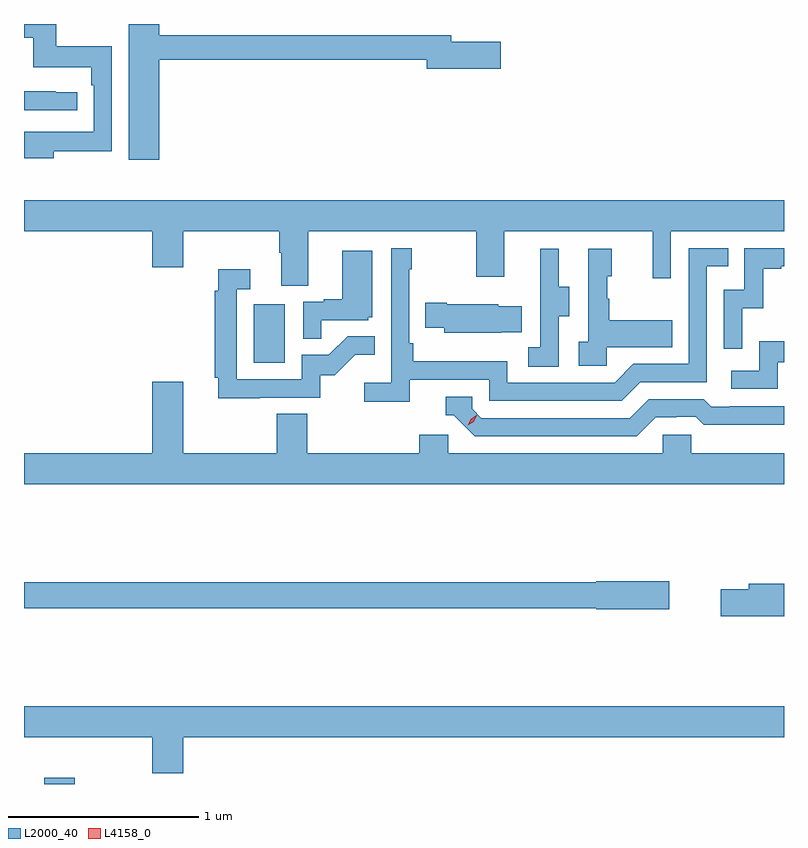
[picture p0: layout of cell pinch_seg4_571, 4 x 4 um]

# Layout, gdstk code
import gdstk
lib = gdstk.Library(unit=1e-6, precision=1e-09)
def R(c, l, rs):  # rectangles x0, y0, x1, y1
    for r in rs: c.add(gdstk.rectangle(r[:2], r[2:], *l))
def P(c, l, *ps):  # polygons
    for p in ps: c.add(gdstk.Polygon(p, *l))
L2000_40 = (2000, 40)
L4158_0 = (4158, 0)

pinch_seg4_571 = lib.new_cell('pinch_seg4_571')
R(pinch_seg4_571, L2000_40, [(1027.577,771.267,1027.738,771.301), (1028.678,773.484,1028.842,773.791)])
P(pinch_seg4_571, L2000_40, [(1027.627,774.598),(1027.932,774.598),(1027.932,775.15),(1027.639,775.15),(1027.639,775.267),(1027.47,775.267),(1027.47,775.195),(1027.518,775.195),(1027.518,775.04),(1027.823,775.04),(1027.823,774.944),(1027.836,774.944),(1027.836,774.699),(1027.523,774.699),(1027.523,774.7),(1027.47,774.7),(1027.47,774.56),(1027.627,774.56)],
  [(1028.182,775.078),(1029.59,775.078),(1029.59,775.031),(1029.978,775.031),(1029.978,775.173),(1029.718,775.173),(1029.718,775.207),(1028.182,775.207),(1028.182,775.267),(1028.021,775.267),(1028.021,774.552),(1028.182,774.552)],
  [(1027.75,774.909),(1027.637,774.909),(1027.637,774.914),(1027.47,774.914),(1027.47,774.813),(1027.75,774.813)],
  [(1028.965,774.176),(1029.85,774.176),(1029.85,773.937),(1029.997,773.937),(1029.997,774.176),(1030.778,774.176),(1030.778,773.928),(1030.875,773.928),(1030.875,774.176),(1031.47,774.176),(1031.47,774.34),(1027.47,774.34),(1027.47,774.176),(1028.144,774.176),(1028.144,773.988),(1028.308,773.988),(1028.308,774.176),(1028.813,774.176),(1028.813,774.064),(1028.825,774.064),(1028.825,773.89),(1028.965,773.89)],
  [(1029.5,773.394),(1029.918,773.394),(1029.918,773.283),(1030.615,773.283),(1030.714,773.382),(1031.064,773.382),(1031.064,773.991),(1031.177,773.991),(1031.177,774.087),(1030.968,774.087),(1030.968,773.478),(1030.677,773.478),(1030.578,773.379),(1030.014,773.379),(1030.014,773.491),(1029.518,773.491),(1029.518,773.587),(1029.498,773.587),(1029.498,773.975),(1029.511,773.975),(1029.511,774.088),(1029.402,774.088),(1029.402,773.38),(1029.261,773.38),(1029.261,773.278),(1029.5,773.278)],
  [(1031.25,773.771),(1031.36,773.771),(1031.36,773.979),(1031.455,773.979),(1031.455,773.991),(1031.47,773.991),(1031.47,774.087),(1031.262,774.087),(1031.262,773.868),(1031.154,773.868),(1031.154,773.559),(1031.25,773.559)],
  [(1030.536,773.567),(1030.883,773.567),(1030.883,773.707),(1030.549,773.707),(1030.549,773.822),(1030.539,773.822),(1030.539,773.94),(1030.564,773.94),(1030.564,774.085),(1030.44,774.085),(1030.44,773.594),(1030.389,773.594),(1030.389,773.469),(1030.536,773.469)],
  [(1030.284,773.728),(1030.339,773.728),(1030.339,773.883),(1030.285,773.883),(1030.285,774.085),(1030.187,774.085),(1030.187,773.871),(1030.188,773.871),(1030.188,773.567),(1030.125,773.567),(1030.125,773.464),(1030.284,773.464)],
  [(1029.035,773.709),(1029.282,773.709),(1029.282,773.724),(1029.304,773.724),(1029.304,774.073),(1029.146,774.073),(1029.146,773.818),(1029.047,773.818),(1029.047,773.805),(1028.94,773.805),(1028.94,773.611),(1029.035,773.611)],
  [(1028.711,773.301),(1029.03,773.301),(1029.03,773.418),(1029.106,773.418),(1029.213,773.525),(1029.317,773.525),(1029.317,773.624),(1029.173,773.624),(1029.075,773.526),(1028.931,773.526),(1028.931,773.397),(1028.589,773.397),(1028.589,773.871),(1028.662,773.871),(1028.662,773.977),(1028.492,773.977),(1028.492,773.864),(1028.473,773.864),(1028.473,773.404),(1028.492,773.404),(1028.492,773.296),(1028.711,773.296)],
  [(1029.983,773.645),(1030.091,773.645),(1030.091,773.782),(1029.966,773.782),(1029.966,773.791),(1029.694,773.791),(1029.694,773.799),(1029.583,773.799),(1029.583,773.669),(1029.681,773.669),(1029.681,773.642),(1029.983,773.642)],
  [(1031.436,773.487),(1031.47,773.487),(1031.47,773.596),(1031.34,773.596),(1031.34,773.442),(1031.193,773.442),(1031.193,773.346),(1031.436,773.346)],
  [(1031.47,773.008),(1030.983,773.008),(1030.983,773.106),(1030.833,773.106),(1030.833,773.008),(1029.702,773.008),(1029.702,773.106),(1029.551,773.106),(1029.551,773.008),(1028.96,773.008),(1028.96,773.216),(1028.8,773.216),(1028.8,773.008),(1028.308,773.008),(1028.308,773.383),(1028.144,773.383),(1028.144,773.008),(1027.47,773.008),(1027.47,772.844),(1031.47,772.844)],
  [(1030.795,773.196),(1030.902,773.196),(1030.902,773.199),(1031.005,773.199),(1031.047,773.157),(1031.28,773.157),(1031.28,773.159),(1031.47,773.159),(1031.47,773.256),(1031.185,773.256),(1031.185,773.253),(1031.086,773.253),(1031.047,773.292),(1030.758,773.292),(1030.659,773.193),(1029.876,773.193),(1029.828,773.241),(1029.828,773.304),(1029.689,773.304),(1029.689,773.208),(1029.732,773.208),(1029.843,773.097),(1030.696,773.097)],
  [(1030.867,772.334),(1030.482,772.334),(1030.482,772.328),(1027.47,772.328),(1027.47,772.192),(1030.482,772.192),(1030.482,772.187),(1030.867,772.187)],
  [(1031.47,772.322),(1031.285,772.322),(1031.285,772.292),(1031.136,772.292),(1031.136,772.15),(1031.47,772.15)],
  [(1028.308,771.512),(1031.47,771.512),(1031.47,771.676),(1027.47,771.676),(1027.47,771.512),(1028.144,771.512),(1028.144,771.324),(1028.308,771.324)])
P(pinch_seg4_571, L4158_0, [(1029.806,773.155),(1029.806,773.155),(1029.821,773.187),(1029.851,773.207),(1029.852,773.207),(1029.852,773.207),(1029.836,773.174),(1029.806,773.155)])

lib.write_gds('pinch_seg4_571.gds')
